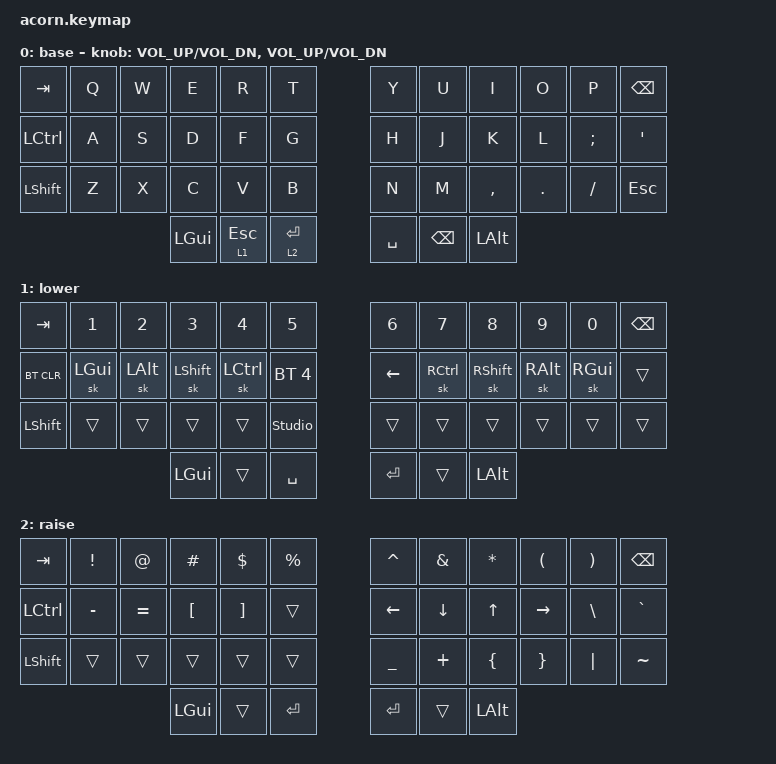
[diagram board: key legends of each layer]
#include <behaviors.dtsi>
#include <dt-bindings/zmk/bt.h>
#include <dt-bindings/zmk/keys.h>

&mt {
    tapping-term-ms = <400>;
    quick-tap-ms = <175>;
    require-prior-idle-ms = <150>;
    flavor = "balanced";
};

&lt { tapping-term-ms = <400>; };

/ {
    combos {
        compatible = "zmk,combos";

        combo_studio_unlock {
            timeout-ms = <50>;
            key-positions = <0 1>;
            bindings = <&kp TAB>;
        };

        Qoute {
            bindings = <&kp DOUBLE_QUOTES>;
            key-positions = <21 22>;
        };

        tab {
            bindings = <&kp TAB>;
            key-positions = <13 14>;
        };

        rightbrace {
            bindings = <&kp LEFT_BRACKET>;
            key-positions = <9 10>;
        };

        leftbbrace {
            bindings = <&kp LEFT_BRACE>;
            key-positions = <8 9>;
        };

        v {
            bindings = <&kp V>;
            key-positions = <27 26>;
        };
    };

    keymap {
        compatible = "zmk,keymap";

        default_layer {
            display-name = "base";
            sensor-bindings = <&inc_dec_kp C_VOL_UP C_VOL_DN &inc_dec_kp C_VOL_UP C_VOL_DN>;

            // -----------------------------------------------------------------------------------------
            // |  TAB |  Q  |  W  |  E  |  R  |  T  |   |  Y  |  U   |  I  |  O  |  P  | BSPC |
            // | CTRL |  A  |  S  |  D  |  F  |  G  |   |  H  |  J   |  K  |  L  |  ;  |  '   |
            // | SHFT |  Z  |  X  |  C  |  V  |  B  |   |  N  |  M   |  ,  |  .  |  /  | ESC  |
            //                    | GUI | LWR | SPC |   | ENT | RSE  | ALT |

            bindings = <
&kp TAB    &kp Q  &kp W  &kp E     &kp R         &kp T        &kp Y      &kp U     &kp I      &kp O    &kp P     &kp BSPC
&kp LCTRL  &kp A  &kp S  &kp D     &kp F         &kp G        &kp H      &kp J     &kp K      &kp L    &kp SEMI  &kp SQT
&kp LSHFT  &kp Z  &kp X  &kp C     &kp V         &kp B        &kp N      &kp M     &kp COMMA  &kp DOT  &kp FSLH  &kp ESC
                         &kp LGUI  &lt 1 ESCAPE  &lt 2 ENTER  &kp SPACE  &kp BSPC  &kp LALT
            >;
        };

        lower_layer {
            display-name = "lower";

            // -----------------------------------------------------------------------------------------
            // |  TAB |  1  |  2  |  3  |  4  |  5  |   |  6  |  7  |  8  |  9  |  0  | BSPC |
            // | BTCLR| BT1 | BT2 | BT3 | BT4 | BT5 |   | LFT | DWN |  UP | RGT |     |      |
            // | SHFT |     |     |     |     |     |   |     |     |     |     |     |      |
            //                    | GUI |     | SPC |   | ENT |     | ALT |

            bindings = <
&kp TAB     &kp N1        &kp N2        &kp N3          &kp N4            &kp N5          &kp N6    &kp N7             &kp N8           &kp N9         &kp N0         &kp BSPC
&bt BT_CLR  &sk LEFT_GUI  &sk LEFT_ALT  &sk LEFT_SHIFT  &sk LEFT_CONTROL  &bt BT_SEL 4    &kp LEFT  &sk RIGHT_CONTROL  &sk RIGHT_SHIFT  &sk RIGHT_ALT  &sk RIGHT_GUI  &trans
&kp LSHFT   &trans        &trans        &trans          &trans            &studio_unlock  &trans    &trans             &trans           &trans         &trans         &trans
                                        &kp LGUI        &trans            &kp SPACE       &kp RET   &trans             &kp LALT
            >;
        };

        raise_layer {
            display-name = "raise";

            // -----------------------------------------------------------------------------------------
            // |  TAB |  !  |  @  |  #  |  $  |  %  |   |  ^  |  &  |  *  |  (  |  )  | BSPC |
            // | CTRL |     |     |     |     |     |   |  -  |  =  |  [  |  ]  |  \  |  `   |
            // | SHFT |     |     |     |     |     |   |  _  |  +  |  {  |  }  | "|" |  ~   |
            //                    | GUI |     | SPC |   | ENT |     | ALT |

            bindings = <
&kp TAB    &kp EXCL   &kp AT     &kp HASH          &kp DLLR           &kp PRCNT  &kp CARET  &kp AMPS  &kp ASTRK     &kp LPAR         &kp RPAR  &kp BSPC
&kp LCTRL  &kp MINUS  &kp EQUAL  &kp LEFT_BRACKET  &kp RIGHT_BRACKET  &trans     &kp LEFT   &kp DOWN  &kp UP_ARROW  &kp RIGHT_ARROW  &kp BSLH  &kp GRAVE
&kp LSHFT  &trans     &trans     &trans            &trans             &trans     &kp UNDER  &kp PLUS  &kp LBRC      &kp RBRC         &kp PIPE  &kp TILDE
                                 &kp LGUI          &trans             &kp ENTER  &kp RET    &trans    &kp LALT
            >;
        };

        extra_layer0 {
            display-name = "extra_layer0";
            status = "reserved";
        };

        extra_layer1 {
            display-name = "extra_layer1";
            status = "reserved";
        };

        extra_layer2 {
            display-name = "extra_layer2";
            status = "reserved";
        };
    };
};
